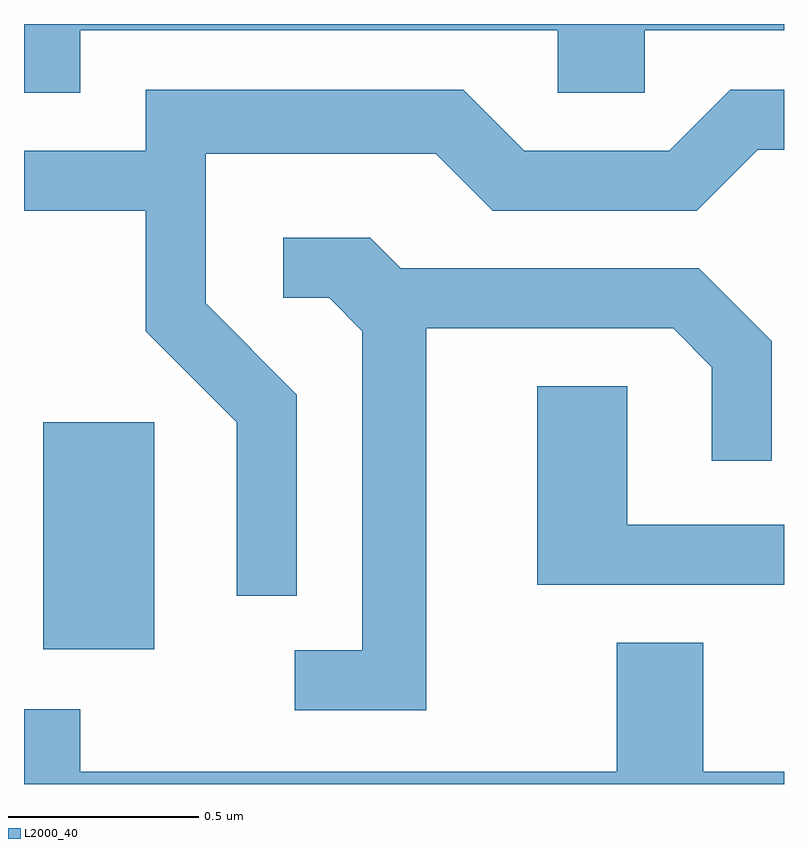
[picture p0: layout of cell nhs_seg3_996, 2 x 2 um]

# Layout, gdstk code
import gdstk
lib = gdstk.Library(unit=1e-6, precision=1e-09)
def R(c, l, rs):  # rectangles x0, y0, x1, y1
    for r in rs: c.add(gdstk.rectangle(r[:2], r[2:], *l))
def P(c, l, *ps):  # polygons
    for p in ps: c.add(gdstk.Polygon(p, *l))
L2000_40 = (2000, 40)

nhs_seg3_996 = lib.new_cell('nhs_seg3_996')
R(nhs_seg3_996, L2000_40, [(192.661,1153.246,192.954,1153.844)])
P(nhs_seg3_996, L2000_40, [(192.759,1154.876),(194.016,1154.876),(194.016,1154.711),(194.244,1154.711),(194.244,1154.876),(194.611,1154.876),(194.611,1154.892),(192.611,1154.892),(192.611,1154.711),(192.759,1154.711)],
  [(193.329,1153.917),(193.089,1154.157),(193.089,1154.551),(193.694,1154.551),(193.844,1154.401),(194.382,1154.401),(194.542,1154.561),(194.611,1154.561),(194.611,1154.719),(194.469,1154.719),(194.309,1154.559),(193.927,1154.559),(193.767,1154.719),(192.931,1154.719),(192.931,1154.559),(192.611,1154.559),(192.611,1154.401),(192.931,1154.401),(192.931,1154.084),(193.171,1153.844),(193.171,1153.388),(193.329,1153.388)],
  [(193.669,1154.091),(194.319,1154.091),(194.421,1153.989),(194.421,1153.743),(194.579,1153.743),(194.579,1154.057),(194.387,1154.249),(193.602,1154.249),(193.522,1154.329),(193.293,1154.329),(193.293,1154.171),(193.414,1154.171),(193.501,1154.084),(193.501,1153.244),(193.323,1153.244),(193.323,1153.086),(193.669,1153.086)],
  [(194.611,1153.574),(194.199,1153.574),(194.199,1153.939),(193.961,1153.939),(193.961,1153.416),(194.611,1153.416)],
  [(194.611,1152.924),(194.399,1152.924),(194.399,1153.264),(194.171,1153.264),(194.171,1152.924),(192.759,1152.924),(192.759,1153.089),(192.611,1153.089),(192.611,1152.892),(194.611,1152.892)])

lib.write_gds('nhs_seg3_996.gds')
